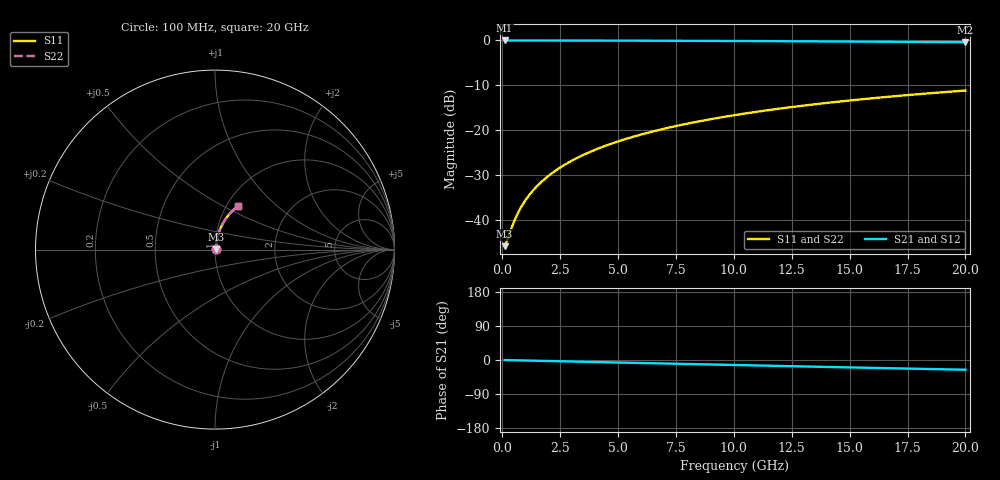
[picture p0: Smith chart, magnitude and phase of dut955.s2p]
! Touchstone file exported from HFSS 2026.1.0
!  File:  C:/ffzhzh/LocalFiles/Ansys_Project_Files/temp_train_TMRDL_955_1783158751_51560.aedt
!  Generated:  05:53:55 PM Jul  4, 2026
!  Design:  TMRDL
!  Project:  temp_train_TMRDL_955_1783158751_51560
! Variables:
!  h_bsmrdl = 2um
!  h_ox = 20um
!  h_rdl = 5um
!  h_sub = 80um
!  h_tmrdl = 2.13um
!  h_tsv = 80um
!  h_via = 3um
!  l_bsmrdl = 300um
!  l_sub = 740.89um
!  l_tmrdl = 340.89um
!  m_sub = 200um
!  pitch = 31.35um
!  r_tsv = 6um
!  s_tmrdl = 10um
!  w_bsmrdl = 18um
!  w_sub = 500um
!  w_tmrdl = 12.4um
!  x_tsv_center1 = 347.09um
!  x_tsv_center2 = 665.09um
!  x_tsv_center3 = 1018.38um
!  x_tsv_center4 = 1336.38um
!  x_tsv_center5 = 1689.67um
!  x_tsv_center6 = 2007.67um
# GHz S MA R 50.000000
! Terminal data exported
! Port[1] = TM_RDL1_1_T1
! Port[2] = TM_RDL1_1_T2
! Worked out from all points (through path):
!   200 points, 100 MHz to 20 GHz, reference 50 ohm
!   highest |S21| = -0.04 dB at 100 MHz (marker M1); lowest = -0.4 dB at 20 GHz (marker M2)
!   group delay of S21, straight-line fit = 3.57 ps
!   lowest |S11| = -45.9 dB at 100 MHz (marker M3), VSWR 1.01, Z = 50.5 + j0.161 ohm
!   |S11| at or under -10 dB: start of sweep to end of sweep
!   |S22| runs from -45.9 to -11.2 dB; largest |S21 - S12| = 2.7e-15
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0.1  0.005049 18.4  0.9952 -0.1  0.9952 -0.1  0.005049 18.4
! Gamma 0 0 0 0
! Port Impedance 50 0 50 0
0.2  0.005791 33.4  0.9952 -0.3  0.9952 -0.3  0.005791 33.4
0.4  0.008065 51.7  0.995 -0.6  0.995 -0.6  0.008064 51.7
0.5  0.009386 57.0  0.995 -0.7  0.995 -0.7  0.009385 57.0
0.7  0.01216 63.9  0.9948 -1.0  0.9948 -1.0  0.01216 63.9
0.8  0.01357 66.2  0.9947 -1.1  0.9947 -1.1  0.01357 66.2
1  0.01642 69.5  0.9945 -1.4  0.9945 -1.4  0.01642 69.5
1.3  0.02072 72.7  0.9942 -1.8  0.9942 -1.8  0.02072 72.7
1.7  0.02648 75.2  0.994 -2.3  0.994 -2.3  0.02647 75.2
2.2  0.03371 77.0  0.9936 -3.0  0.9936 -3.0  0.03371 77.0
2.8  0.04242 78.1  0.9931 -3.8  0.9931 -3.8  0.04242 78.1
3.5  0.05262 78.6  0.9925 -4.7  0.9925 -4.7  0.05262 78.6
4.2  0.06283 78.7  0.9918 -5.6  0.9918 -5.6  0.06283 78.7
5  0.07447 78.4  0.9908 -6.7  0.9908 -6.7  0.07447 78.4
5.9  0.08751 77.8  0.9896 -7.9  0.9896 -7.9  0.08751 77.8
6.8  0.1005 77.1  0.9882 -9.0  0.9882 -9.0  0.1005 77.1
8.3  0.1219 75.6  0.9854 -11.0  0.9854 -11.0  0.1219 75.6
10.1  0.1471 73.7  0.9815 -13.3  0.9815 -13.3  0.1471 73.7
11.7  0.1691 71.9  0.9776 -15.4  0.9776 -15.4  0.1691 71.9
13.4  0.192 69.9  0.9729 -17.6  0.9729 -17.6  0.192 69.9
16.7  0.2347 66.0  0.9626 -21.7  0.9626 -21.7  0.2347 66.0
20  0.275 62.1  0.9511 -25.7  0.9511 -25.7  0.275 62.2
